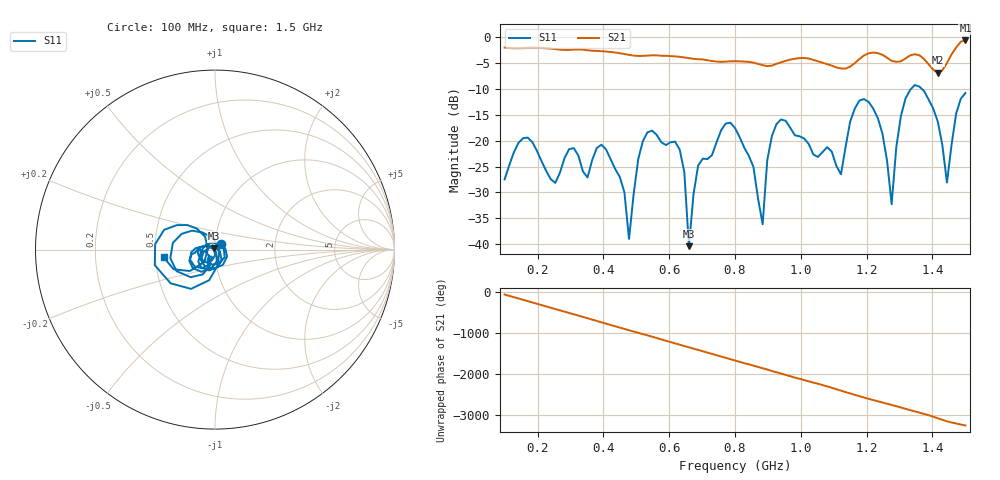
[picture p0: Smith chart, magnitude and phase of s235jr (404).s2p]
! NanoVNA-App
! Date: 2025-09-25 15:07:18
! Start: 100MHz Stop: 1,5GHz Points: 101
! S-Parameter data: F S11 S21 S12 S22
# Hz S RI R 50
!  Frequency  S11_Real  S11_Imag  S21_Real  S21_Imag  S12_Real  S12_Imag  S22_Real  S22_Imag
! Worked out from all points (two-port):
!   101 points, 100 MHz to 1.5 GHz, reference 50 ohm
!   highest |S21| = -0.58 dB at 1.5 GHz (marker M1); lowest = -6.8 dB at 1.416 GHz (marker M2)
!   |S21| within 3 dB of the highest: start of sweep to 597.5 MHz; 1.19 GHz to 1.254 GHz (63.53 MHz wide, 5.2 % of centre) (the widest 2 of 4)
!   lowest |S11| = -40.4 dB at 660 MHz (marker M3), VSWR 1.02, Z = 49.3 + j0.617 ohm
!   |S11| at or under -10 dB: start of sweep to 1.334 GHz; 1.368 GHz to end of sweep
!   S12 and S22 are empty: the file has one direction only
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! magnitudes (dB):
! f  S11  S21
! 100 MHz  -27.5  -2.0
! 170 MHz  -19.4  -2.0
! 338 MHz  -25.9  -2.4
! 408 MHz  -21.6  -2.7
! 478 MHz  -39.0  -3.4
! 520 MHz  -20.1  -3.6
! 576 MHz  -20.3  -3.5
! 632 MHz  -21.7  -3.7
! 660 MHz  -40.4  -4.0
! 688 MHz  -24.8  -4.2
! 800 MHz  -17.5  -4.6
! 884 MHz  -36.2  -5.4
! 926 MHz  -16.8  -5.1
! 1.038 GHz  -22.6  -4.3
! 1.122 GHz  -26.5  -6.0
! 1.206 GHz  -12.5  -3.1
! 1.276 GHz  -32.3  -4.5
! 1.304 GHz  -15.2  -4.6
! 1.332 GHz  -10.2  -3.5
! 1.416 GHz  -16.2  -6.8
! 1.444 GHz  -28.1  -4.9
! 1.5 GHz  -10.8  -0.6
